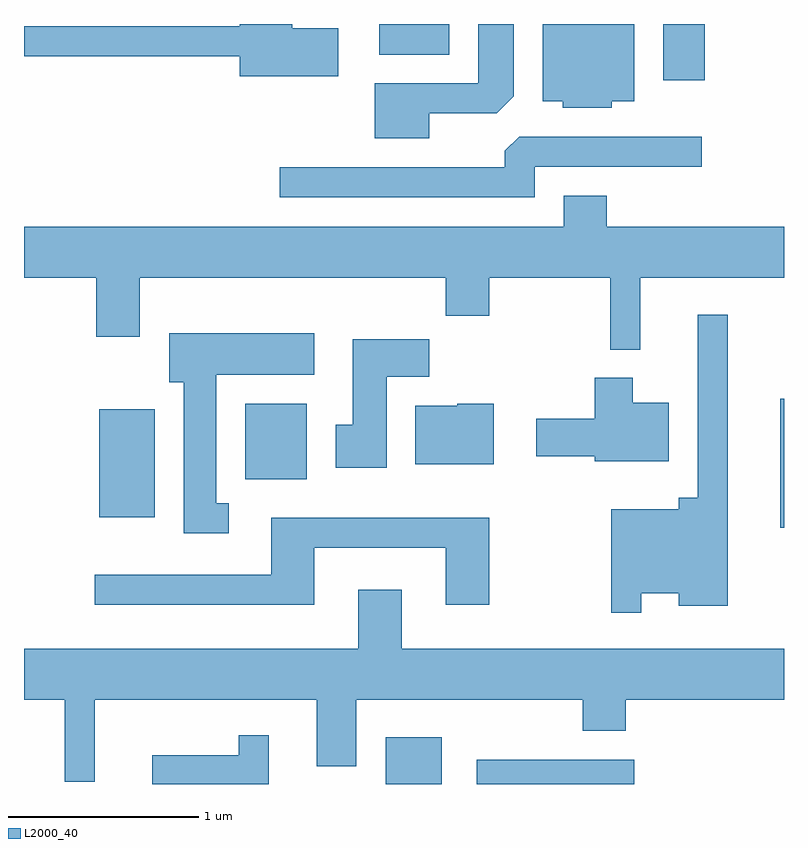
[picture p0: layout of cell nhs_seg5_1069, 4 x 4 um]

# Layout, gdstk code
import gdstk
lib = gdstk.Library(unit=1e-6, precision=1e-09)
def R(c, l, rs):  # rectangles x0, y0, x1, y1
    for r in rs: c.add(gdstk.rectangle(r[:2], r[2:], *l))
def P(c, l, *ps):  # polygons
    for p in ps: c.add(gdstk.Polygon(p, *l))
L2000_40 = (2000, 40)

nhs_seg5_1069 = lib.new_cell('nhs_seg5_1069')
R(nhs_seg5_1069, L2000_40, [(217.516,1514.072,217.809,1514.319), (217.993,1514.072,218.824,1514.199), (219.591,1515.421,219.611,1516.099), (216.006,1515.476,216.299,1516.044), (216.776,1515.676,217.099,1516.074), (218.976,1517.776,219.194,1518.072), (217.481,1517.911,217.849,1518.072)])
P(nhs_seg5_1069, L2000_40, [(218.704,1517.666),(218.824,1517.666),(218.824,1518.072),(218.341,1518.072),(218.341,1517.666),(218.446,1517.666),(218.446,1517.631),(218.704,1517.631)],
  [(217.264,1518.049),(217.024,1518.049),(217.024,1518.072),(216.746,1518.072),(216.746,1518.059),(215.611,1518.059),(215.611,1517.901),(216.746,1517.901),(216.746,1517.796),(217.264,1517.796)],
  [(217.744,1517.601),(218.099,1517.601),(218.189,1517.692),(218.189,1518.072),(218.001,1518.072),(218.001,1517.759),(217.456,1517.759),(217.456,1517.471),(217.744,1517.471)],
  [(218.299,1517.321),(219.178,1517.321),(219.178,1517.479),(218.217,1517.479),(218.141,1517.404),(218.141,1517.319),(216.958,1517.319),(216.958,1517.161),(218.299,1517.161)],
  [(218.854,1516.736),(219.611,1516.736),(219.611,1517.004),(218.679,1517.004),(218.679,1517.169),(218.451,1517.169),(218.451,1517.004),(215.611,1517.004),(215.611,1516.736),(215.991,1516.736),(215.991,1516.426),(216.219,1516.426),(216.219,1516.736),(217.831,1516.736),(217.831,1516.536),(218.059,1516.536),(218.059,1516.736),(218.696,1516.736),(218.696,1516.358),(218.854,1516.358)],
  [(218.859,1515.076),(219.056,1515.076),(219.056,1515.011),(219.314,1515.011),(219.314,1516.543),(219.156,1516.543),(219.156,1515.579),(219.056,1515.579),(219.056,1515.519),(218.701,1515.519),(218.701,1514.973),(218.859,1514.973)],
  [(216.688,1515.549),(216.624,1515.549),(216.624,1516.226),(217.139,1516.226),(217.139,1516.444),(216.376,1516.444),(216.376,1516.186),(216.451,1516.186),(216.451,1515.391),(216.688,1515.391)],
  [(217.519,1516.216),(217.744,1516.216),(217.744,1516.414),(217.341,1516.414),(217.341,1515.964),(217.251,1515.964),(217.251,1515.736),(217.519,1515.736)],
  [(219.004,1516.079),(218.814,1516.079),(218.814,1516.209),(218.616,1516.209),(218.616,1515.994),(218.306,1515.994),(218.306,1515.796),(218.616,1515.796),(218.616,1515.771),(219.004,1515.771)],
  [(218.084,1516.074),(217.89,1516.074),(217.89,1516.064),(217.671,1516.064),(217.671,1515.756),(218.084,1515.756)],
  [(217.139,1515.316),(217.831,1515.316),(217.831,1515.016),(218.059,1515.016),(218.059,1515.474),(216.911,1515.474),(216.911,1515.174),(215.983,1515.174),(215.983,1515.016),(217.139,1515.016)],
  [(215.984,1514.516),(217.151,1514.516),(217.151,1514.166),(217.359,1514.166),(217.359,1514.516),(218.551,1514.516),(218.551,1514.351),(218.779,1514.351),(218.779,1514.516),(219.611,1514.516),(219.611,1514.784),(217.599,1514.784),(217.599,1515.094),(217.371,1515.094),(217.371,1514.784),(215.611,1514.784),(215.611,1514.516),(215.826,1514.516),(215.826,1514.083),(215.984,1514.083)],
  [(216.899,1514.328),(216.741,1514.328),(216.741,1514.224),(216.286,1514.224),(216.286,1514.072),(216.899,1514.072)])

lib.write_gds('nhs_seg5_1069.gds')
